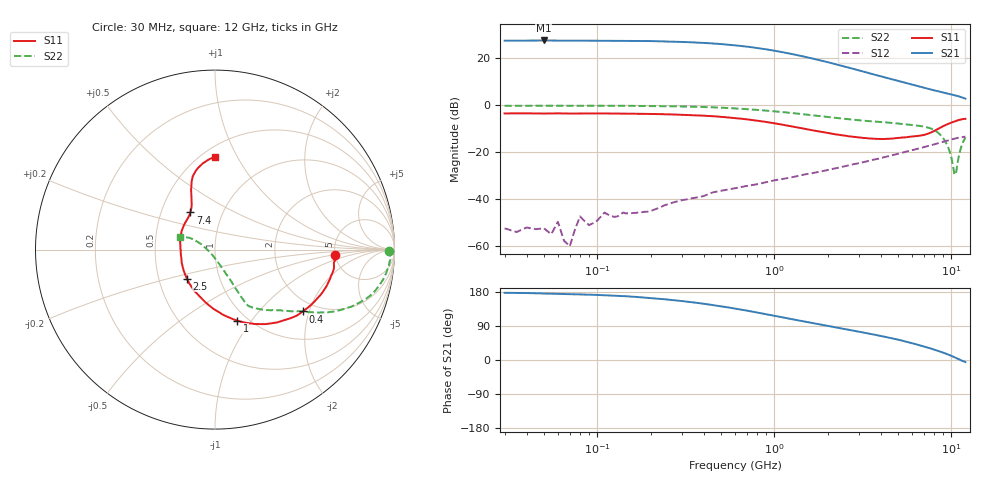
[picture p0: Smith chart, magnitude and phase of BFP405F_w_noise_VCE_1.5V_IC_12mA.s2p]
! Infineon Technologies  Discrete & RF Semiconductors
! BFP405F
! VCE =  1.5 V,  IC =  12 mA
! Common Emitter S-Parameters:  Nov 2015
# GHz  S  MA  R  50
!  f  S11  S21  S12  S22
! GHz  MAG  ANG  MAG  ANG  MAG  ANG  MAG  ANG
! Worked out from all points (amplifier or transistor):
!   239 points, 30 MHz to 12 GHz, reference 50 ohm
!   highest |S21| = 27.6 dB at 50 MHz (marker M1)
!   |S21| within 3 dB of that: start of sweep to 763.4 MHz
!   unconditionally stable (mu >= 1): 68.95 MHz to 71.36 MHz; 2.011 GHz to end of sweep
!   at 300 MHz: K = 0.26, MSG = 33.7 dB, |S12| = -40.4 dB
!   at 1.88 GHz: K = 0.97, MSG = 23.4 dB, |S12| = -28.0 dB
!   at 12 GHz: K = 1.39, MAG = 4.3 dB, |S12| = -13.4 dB
!   lowest NFmin = 1.80 dB at 450 MHz
!   S11 on the Smith chart (normalised r, x): 30 MHz: 5.01, -0.55; 400 MHz: 1.69, -1.82; 1 GHz: 0.89, -0.85; 2.5 GHz: 0.70, -0.24; 7.4 GHz: 0.70, +0.31; 12 GHz: 0.58, +0.81
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0.03  0.6706 -2.6  23.7 177.3  0.0024 136.7  0.9719 -0.6
0.05  0.6664 -5.0  23.96 175.5  0.0024 33.7  0.9771 -1.9
0.06  0.6726 -5.1  23.74 174.8  0.0033 136.2  0.9748 -1.6
0.07  0.6662 -6.2  23.74 173.6  0.001 -10.4  0.9725 -2.2
0.08  0.6687 -7.4  23.62 172.9  0.0043 65.2  0.9746 -2.6
0.085  0.6693 -7.8  23.67 172.7  0.0034 76.6  0.9767 -3.0
0.145  0.6624 -13.4  23.52 168.3  0.005 90.1  0.973 -5.4
0.24  0.6444 -21.7  22.84 160.3  0.0074 81.3  0.9558 -9.3
0.3  0.6272 -26.9  22.36 155.6  0.0095 76.6  0.9421 -11.5
0.4  0.5988 -35.1  21.28 148.3  0.0117 75.4  0.918 -14.8
0.6  0.5335 -49.5  18.87 135.6  0.0171 73.8  0.857 -20.2
0.8  0.4696 -62.0  16.54 125.2  0.0208 70.4  0.7967 -24.4
1  0.4144 -72.8  14.51 116.6  0.0252 68.6  0.7433 -27.7
1.3  0.3453 -87.3  12.01 106.3  0.0301 67.4  0.675 -31.3
1.64  0.2933 -101.9  9.901 97.6  0.0358 66.1  0.6156 -34.3
2.02  0.2564 -117.2  8.204 89.6  0.0422 65.3  0.5624 -37.9
2.5  0.2253 -134.2  6.651 81.5  0.0502 64.3  0.5134 -41.5
4.5  0.1943 174.3  3.666 58.5  0.084 58.9  0.4239 -52.0
7.4  0.2488 123.6  2.235 32.3  0.1353 46.7  0.333 -60.4
9.2  0.3741 110.7  1.833 17.7  0.1709 37.3  0.1738 -63.9
10.4  0.451 103.8  1.645 7.6  0.1943 30.0  0.034 -113.2
12  0.5149 90.0  1.383 -5.4  0.2149 21.0  0.2075 159.5
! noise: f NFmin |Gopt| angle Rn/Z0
0.45  1.8  0.16  4  0.33
0.9  1.81  0.15  8  0.33
1.5  1.86  0.13  12  0.23
1.9  1.91  0.12  19  0.29
2.4  2.04  0.1  26  0.38
3  2.11  0.08  35  0.4
3.5  2.17  0.06  40  0.45
4.5  2.36  0.03  -10  0.19
5.5  2.6  0.12  -85  0.06
